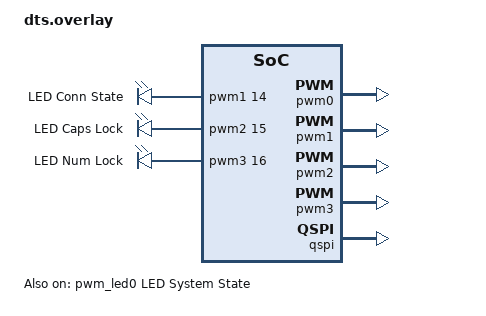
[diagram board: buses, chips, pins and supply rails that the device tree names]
/ {
	chosen {
		/*
		 * In some default configurations within the nRF Connect SDK,
		 * e.g. on nRF52840 and nRF9160, the chosen zephyr,entropy node
		 * is &cryptocell. This devicetree overlay ensures that default
		 * is overridden wherever it is set, as this application uses
		 * the RNG node for entropy exclusively.
		 */
		zephyr,entropy = &rng;
	};

	pwmleds1 {
		compatible = "pwm-leds";
		status = "okay";

		pwm_led1: led_pwm_1 {
			status = "okay";
			pwms = <&pwm1 14>;
			label = "LED Conn State";
		};
	};

	pwmleds2 {
		compatible = "pwm-leds";
		status = "okay";

		pwm_led2: led_pwm_2 {
			status = "okay";
			pwms = <&pwm2 15>;
			label = "LED Caps Lock";
		};
	};

	pwmleds3 {
		compatible = "pwm-leds";
		status = "okay";

		pwm_led3: led_pwm_3 {
			status = "okay";
			pwms = <&pwm3 16>;
			label = "LED Num Lock";
		};
	};
};

&pwm0 {
	status = "okay";
	ch0-pin = <13>;
	ch0-inverted;
};

&pwm1 {
	status = "okay";
	ch0-pin = <14>;
	ch0-inverted;
};

&pwm2 {
	status = "okay";
	ch0-pin = <15>;
	ch0-inverted;
};

&pwm3 {
	status = "okay";
	ch0-pin = <16>;
	ch0-inverted;
};

&pwm_led0 {
	status = "okay";
	pwms = <&pwm0 13>;
	label = "LED System State";
};

&qspi {
	status = "okay";
};
